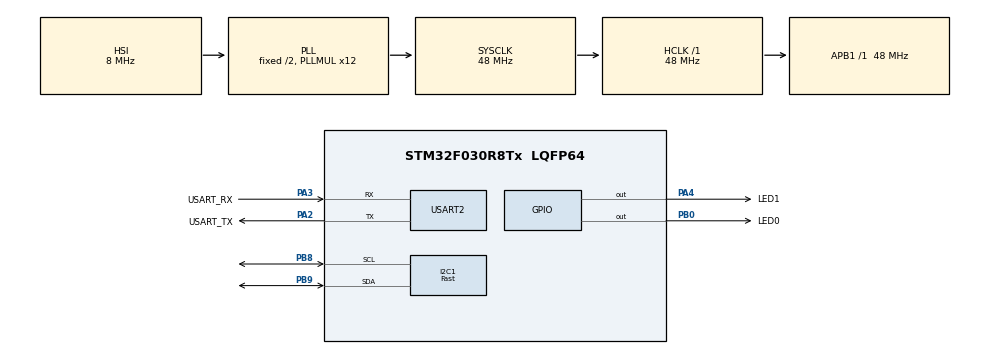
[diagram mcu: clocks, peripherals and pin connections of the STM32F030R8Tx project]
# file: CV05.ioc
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Dma.Request0=USART2_RX
Dma.USART2_RX.0.Direction=DMA_PERIPH_TO_MEMORY
Dma.USART2_RX.0.Instance=DMA1_Channel5
Dma.USART2_RX.0.MemDataAlignment=DMA_MDATAALIGN_BYTE
Dma.USART2_RX.0.MemInc=DMA_MINC_ENABLE
Dma.USART2_RX.0.Mode=DMA_CIRCULAR
Dma.USART2_RX.0.PeriphDataAlignment=DMA_PDATAALIGN_BYTE
Dma.USART2_RX.0.PeriphInc=DMA_PINC_DISABLE
Dma.USART2_RX.0.Priority=DMA_PRIORITY_LOW
I2C1.I2C_Speed_Mode=I2C_Fast
I2C1.Timing=0x0000020B
Mcu.Family=STM32F0
Mcu.Name=STM32F030R8Tx
Mcu.Package=LQFP64
NVIC.DMA1_Channel4_5_IRQn=true\:0\:0\:false\:false\:true\:false\:true
PA13.GPIO_Label=TMS
PA13.Mode=Serial_Wire
PA13.Signal=SYS_SWDIO
PA14.GPIO_Label=TCK
PA14.Mode=Serial_Wire
PA14.Signal=SYS_SWCLK
PA2.GPIO_Label=USART_TX
PA2.GPIO_Mode=GPIO_MODE_AF_PP
PA2.GPIO_PuPd=GPIO_NOPULL
PA2.GPIO_Speed=GPIO_SPEED_FREQ_LOW
PA2.Mode=Asynchronous
PA2.Signal=USART2_TX
PA3.GPIO_Label=USART_RX
PA3.GPIO_Mode=GPIO_MODE_AF_PP
PA3.GPIO_PuPd=GPIO_NOPULL
PA3.GPIO_Speed=GPIO_SPEED_FREQ_LOW
PA3.Mode=Asynchronous
PA3.Signal=USART2_RX
PA4.GPIO_Label=LED1
PA4.GPIO_PuPd=GPIO_PULLUP
PA4.Signal=GPIO_Output
PB0.GPIO_Label=LED0
PB0.GPIO_PuPd=GPIO_PULLUP
PB0.Signal=GPIO_Output
PB8.Mode=I2C
PB8.Signal=I2C1_SCL
PB9.Mode=I2C
PB9.Signal=I2C1_SDA
ProjectManager.HeapSize=0x200
ProjectManager.StackSize=0x400
ProjectManager.TargetToolchain=STM32CubeIDE
RCC.AHBFreq_Value=48000000
RCC.APB1Freq_Value=48000000
RCC.APB1TimFreq_Value=48000000
RCC.HCLKFreq_Value=48000000
RCC.PLLMUL=RCC_PLL_MUL12
RCC.SYSCLKFreq_VALUE=48000000
RCC.SYSCLKSource=RCC_SYSCLKSOURCE_PLLCLK
USART2.VirtualMode-Asynchronous=VM_ASYNC
board=NUCLEO-F030R8

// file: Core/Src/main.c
/* USER CODE BEGIN Header */
/**
  ******************************************************************************
  * @file           : main.c
  * @brief          : Main program body
  ******************************************************************************
  * @attention
  *
  * <h2><center>&copy; Copyright (c) 2020 STMicroelectronics.
  * All rights reserved.</center></h2>
  *
  * This software component is licensed by ST under BSD 3-Clause license,
  * the "License"; You may not use this file except in compliance with the
  * License. You may obtain a copy of the License at:
  *                        opensource.org/licenses/BSD-3-Clause
  *
  ******************************************************************************
  */
/* USER CODE END Header */
#include "main.h"

/* USER CODE BEGIN Includes */
#include  <stdio.h>
/* USER CODE END Includes */

/* USER CODE BEGIN PD */
#define RX_BUFFER_LEN 64
static uint8_t uart_rx_buf[RX_BUFFER_LEN];
static volatile uint16_t uart_rx_read_ptr = 0;
#define uart_rx_write_ptr (RX_BUFFER_LEN - hdma_usart2_rx.Instance->CNDTR)
#define EEPROM_ADDR 0xA0
#define DUMP_LENGHT (0XF+1)
/* USER CODE END PD */

I2C_HandleTypeDef hi2c1;

UART_HandleTypeDef huart2;
DMA_HandleTypeDef hdma_usart2_rx;

void SystemClock_Config(void);
static void MX_GPIO_Init(void);
static void MX_DMA_Init(void);
static void MX_USART2_UART_Init(void);
static void MX_I2C1_Init(void);

/* USER CODE BEGIN 0 */
int _write(int file, char const *buf, int n)
{
 /* stdout redirection to UART2 */
 HAL_UART_Transmit(&huart2, (uint8_t*)(buf), n, HAL_MAX_DELAY);
 return n;
}

void uart_process_command(uint8_t* cmd)
{
	char *token;
	token = strtok(cmd, " ");
	if (strcasecmp(token, "HELLO") == 0)//test communication
	{
	 printf("Komunikace OK\n");
	}

	else if (strcasecmp(token, "LED1") == 0)// Set/reset LED1
	{
		token = strtok(NULL, " ");
		if (strcasecmp(token, "ON") == 0)//LED1 ON
		{
			HAL_GPIO_WritePin(LED0_GPIO_Port, LED0_Pin,GPIO_PIN_SET);
		}
		else if (strcasecmp(token, "OFF")==0)//LED1 OFF
		{
			HAL_GPIO_WritePin(LED0_GPIO_Port, LED0_Pin,GPIO_PIN_RESET);
		}
		printf("OK\n");
	}

	else if (strcasecmp(token, "LED2") == 0)// Set/reset LED2
	{
		 token = strtok(NULL, " ");
		 if (strcasecmp(token, "ON") == 0)//LED1 ON
		 {
			 HAL_GPIO_WritePin(LED1_GPIO_Port, LED1_Pin,GPIO_PIN_SET);
		 }
		 else if (strcasecmp(token, "OFF")==0)//LED1 OFF
		 {
			 HAL_GPIO_WritePin(LED1_GPIO_Port, LED1_Pin,GPIO_PIN_RESET);
		 }
		 printf("OK\n");
	}

	else if (strcasecmp(token, "STATUS") == 0)// Return LEDs state
	{
		if (HAL_GPIO_ReadPin(LED0_GPIO_Port,LED0_Pin))//LED1 ON
		 {
			 printf("LED1 ON\n");
		 }
		 else
		 {
			 printf("LED1 OFF\n");
		 }
		 if (HAL_GPIO_ReadPin(LED1_GPIO_Port,LED1_Pin))//LED1 ON
		  {
		 	 printf("LED2 ON\n");
		  }
		  else
		  {
		 	 printf("LED2 OFF\n");
		  }
	}

	else if (strcasecmp(token, "DUMP") == 0)// dump EEPROM
	{
		uint8_t data[DUMP_LENGHT];
		HAL_I2C_Mem_Read(&hi2c1, EEPROM_ADDR, 0, I2C_MEMADD_SIZE_16BIT, data, DUMP_LENGHT, 1000);
		for(uint16_t i = 0; i<DUMP_LENGHT;)
		{
			for(uint8_t j = 0; j<8;j++)
			{
				printf("%02X ", data[i]);
				i++;
			}
			printf("\n");
		}
	}

	else if (strcasecmp(token, "READ") == 0)//Read value from EEPROM
	{
		 token = strtok(NULL, " ");
		 uint8_t value = 0;
		 uint16_t addr = atoi(token);
		 HAL_I2C_Mem_Read(&hi2c1, EEPROM_ADDR, addr, I2C_MEMADD_SIZE_16BIT, &value, 1, 1000);
		 printf("Adresa 0x%04X ", addr);
		 printf(" = 0x%0Xx\n ", value);
	}

	else if (strcasecmp(token, "WRITE") == 0)
		{
			 token = strtok(NULL, " ");
			 uint16_t addr = atoi(token);
			 token = strtok(NULL, " ");
			 uint8_t value = atoi(token);
			 uint8_t value2;
			 HAL_I2C_Mem_Write(&hi2c1, EEPROM_ADDR, addr, I2C_MEMADD_SIZE_16BIT, &value, 1, 1000);
			 /* Check if the EEPROM is ready for a new operation */
			 while (HAL_I2C_IsDeviceReady(&hi2c1, EEPROM_ADDR, 300, 1000) == HAL_TIMEOUT);
			 HAL_I2C_Mem_Read(&hi2c1, EEPROM_ADDR, addr+1, I2C_MEMADD_SIZE_16BIT, &value2, 1, 1000); //check written data
			// HAL_I2C_Mem_Read(&hi2c1, EEPROM_ADDR, addr+1, I2C_MEMADD_SIZE_16BIT, &value2, 1, 1000); //for debug (read from addr+1 -> probably wrong data)
			 if(value==value2)
			 {
				 printf("Na adresu 0x%04X ", addr);
				 printf("zapsana hodnota 0x%02X.\n", value2);//Confirm correct value
			 }
			 else  printf("Chyba zapisu, zapsana hodnota je 0x%02X\n ", value2);//report wrong value
		}
}

#define CMD_BUFFER_LEN 255
static void uart_byte_available(uint8_t c)
{
 static uint16_t cnt;
 static char data[CMD_BUFFER_LEN];
 if (cnt < CMD_BUFFER_LEN && c >= 32 && c <= 126) data[cnt++] = c;
 if ((c == '\n' || c == '\r') && cnt > 0)
 {
	 data[cnt] = '\0';
	 uart_process_command(data);
	 cnt = 0;
 }
}
/* USER CODE END 0 */

int main(void)
{

  /* MCU Configuration--------------------------------------------------------*/

  /* Reset of all peripherals, Initializes the Flash interface and the Systick. */
  HAL_Init();

  /* Configure the system clock */
  SystemClock_Config();

  /* Initialize all configured peripherals */
  MX_GPIO_Init();
  MX_DMA_Init();
  MX_USART2_UART_Init();
  MX_I2C1_Init();

  /* Infinite loop */
  /* USER CODE BEGIN WHILE */
  HAL_UART_Receive_DMA(&huart2, uart_rx_buf, RX_BUFFER_LEN);
  while (1)
  {
    /* USER CODE END WHILE */

    /* USER CODE BEGIN 3 */

	  while (uart_rx_read_ptr != uart_rx_write_ptr) //process incoming data
	  {
	   uint8_t b = uart_rx_buf[uart_rx_read_ptr];
	   if (++uart_rx_read_ptr >= RX_BUFFER_LEN) uart_rx_read_ptr = 0; // increase read pointer
	   uart_byte_available(b); // process every received byte with the RX state machine
	  }

  }
  /* USER CODE END 3 */
}

void SystemClock_Config(void)
{
  RCC_OscInitTypeDef RCC_OscInitStruct = {0};
  RCC_ClkInitTypeDef RCC_ClkInitStruct = {0};
  RCC_PeriphCLKInitTypeDef PeriphClkInit = {0};

  /** Initializes the RCC Oscillators according to the specified parameters
  * in the RCC_OscInitTypeDef structure.
  */
  RCC_OscInitStruct.OscillatorType = RCC_OSCILLATORTYPE_HSI;
  RCC_OscInitStruct.HSIState = RCC_HSI_ON;
  RCC_OscInitStruct.HSICalibrationValue = RCC_HSICALIBRATION_DEFAULT;
  RCC_OscInitStruct.PLL.PLLState = RCC_PLL_ON;
  RCC_OscInitStruct.PLL.PLLSource = RCC_PLLSOURCE_HSI;
  RCC_OscInitStruct.PLL.PLLMUL = RCC_PLL_MUL12;
  RCC_OscInitStruct.PLL.PREDIV = RCC_PREDIV_DIV1;
  if (HAL_RCC_OscConfig(&RCC_OscInitStruct) != HAL_OK)
  {
    Error_Handler();
  }
  /** Initializes the CPU, AHB and APB buses clocks
  */
  RCC_ClkInitStruct.ClockType = RCC_CLOCKTYPE_HCLK|RCC_CLOCKTYPE_SYSCLK
                              |RCC_CLOCKTYPE_PCLK1;
  RCC_ClkInitStruct.SYSCLKSource = RCC_SYSCLKSOURCE_PLLCLK;
  RCC_ClkInitStruct.AHBCLKDivider = RCC_SYSCLK_DIV1;
  RCC_ClkInitStruct.APB1CLKDivider = RCC_HCLK_DIV1;

  if (HAL_RCC_ClockConfig(&RCC_ClkInitStruct, FLASH_LATENCY_1) != HAL_OK)
  {
    Error_Handler();
  }
  PeriphClkInit.PeriphClockSelection = RCC_PERIPHCLK_I2C1;
  PeriphClkInit.I2c1ClockSelection = RCC_I2C1CLKSOURCE_HSI;
  if (HAL_RCCEx_PeriphCLKConfig(&PeriphClkInit) != HAL_OK)
  {
    Error_Handler();
  }
}

static void MX_I2C1_Init(void)
{

  hi2c1.Instance = I2C1;
  hi2c1.Init.Timing = 0x0000020B;
  hi2c1.Init.OwnAddress1 = 0;
  hi2c1.Init.AddressingMode = I2C_ADDRESSINGMODE_7BIT;
  hi2c1.Init.DualAddressMode = I2C_DUALADDRESS_DISABLE;
  hi2c1.Init.OwnAddress2 = 0;
  hi2c1.Init.OwnAddress2Masks = I2C_OA2_NOMASK;
  hi2c1.Init.GeneralCallMode = I2C_GENERALCALL_DISABLE;
  hi2c1.Init.NoStretchMode = I2C_NOSTRETCH_DISABLE;
  if (HAL_I2C_Init(&hi2c1) != HAL_OK)
  {
    Error_Handler();
  }
  /** Configure Analogue filter
  */
  if (HAL_I2CEx_ConfigAnalogFilter(&hi2c1, I2C_ANALOGFILTER_ENABLE) != HAL_OK)
  {
    Error_Handler();
  }
  /** Configure Digital filter
  */
  if (HAL_I2CEx_ConfigDigitalFilter(&hi2c1, 0) != HAL_OK)
  {
    Error_Handler();
  }

}

static void MX_USART2_UART_Init(void)
{

  huart2.Instance = USART2;
  huart2.Init.BaudRate = 38400;
  huart2.Init.WordLength = UART_WORDLENGTH_8B;
  huart2.Init.StopBits = UART_STOPBITS_1;
  huart2.Init.Parity = UART_PARITY_NONE;
  huart2.Init.Mode = UART_MODE_TX_RX;
  huart2.Init.HwFlowCtl = UART_HWCONTROL_NONE;
  huart2.Init.OverSampling = UART_OVERSAMPLING_16;
  huart2.Init.OneBitSampling = UART_ONE_BIT_SAMPLE_DISABLE;
  huart2.AdvancedInit.AdvFeatureInit = UART_ADVFEATURE_NO_INIT;
  if (HAL_UART_Init(&huart2) != HAL_OK)
  {
    Error_Handler();
  }

}

static void MX_DMA_Init(void)
{

  /* DMA controller clock enable */
  __HAL_RCC_DMA1_CLK_ENABLE();

  /* DMA interrupt init */
  /* DMA1_Channel4_5_IRQn interrupt configuration */
  HAL_NVIC_SetPriority(DMA1_Channel4_5_IRQn, 0, 0);
  HAL_NVIC_EnableIRQ(DMA1_Channel4_5_IRQn);

}

static void MX_GPIO_Init(void)
{
  GPIO_InitTypeDef GPIO_InitStruct = {0};

  /* GPIO Ports Clock Enable */
  __HAL_RCC_GPIOA_CLK_ENABLE();
  __HAL_RCC_GPIOB_CLK_ENABLE();

  /*Configure GPIO pin Output Level */
  HAL_GPIO_WritePin(LED1_GPIO_Port, LED1_Pin, GPIO_PIN_RESET);

  /*Configure GPIO pin Output Level */
  HAL_GPIO_WritePin(LED0_GPIO_Port, LED0_Pin, GPIO_PIN_RESET);

  /*Configure GPIO pin : LED1_Pin */
  GPIO_InitStruct.Pin = LED1_Pin;
  GPIO_InitStruct.Mode = GPIO_MODE_OUTPUT_PP;
  GPIO_InitStruct.Pull = GPIO_PULLUP;
  GPIO_InitStruct.Speed = GPIO_SPEED_FREQ_LOW;
  HAL_GPIO_Init(LED1_GPIO_Port, &GPIO_InitStruct);

  /*Configure GPIO pin : LED0_Pin */
  GPIO_InitStruct.Pin = LED0_Pin;
  GPIO_InitStruct.Mode = GPIO_MODE_OUTPUT_PP;
  GPIO_InitStruct.Pull = GPIO_PULLUP;
  GPIO_InitStruct.Speed = GPIO_SPEED_FREQ_LOW;
  HAL_GPIO_Init(LED0_GPIO_Port, &GPIO_InitStruct);

}

void Error_Handler(void)
{
}

/************************ (C) COPYRIGHT STMicroelectronics *****END OF FILE****/
